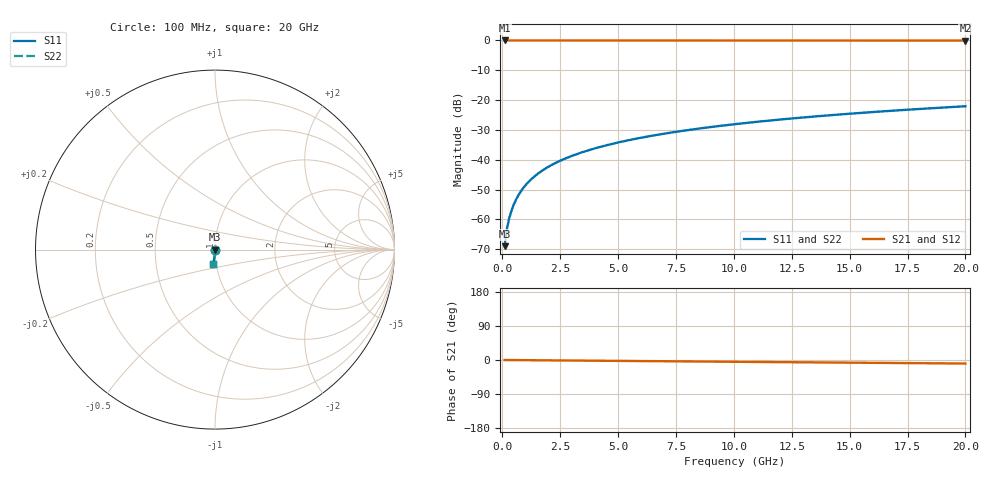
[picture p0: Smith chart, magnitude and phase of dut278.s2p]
! Touchstone file exported from HFSS 2026.1.0
!  File:  C:/ffzhzh/LocalFiles/Ansys_Project_Files/temp_train_TSV_278_1782993504_41620.aedt
!  Generated:  07:59:56 PM Jul  2, 2026
!  Design:  TSV
!  Project:  temp_train_TSV_278_1782993504_41620
! Variables:
!  h_bsmrdl = 2um
!  h_ox = 20um
!  h_rdl = 5um
!  h_sub = 86.93um
!  h_tmrdl = 5um
!  h_tsv = 86.93um
!  h_via = 3um
!  l_bsmrdl = 300um
!  l_sub = 425.7um
!  l_tmrdl = 200um
!  m_sub = 200um
!  pitch = 34.15um
!  r_tsv = 12.85um
!  s_tmrdl = 10um
!  w_bsmrdl = 18um
!  w_sub = 500um
!  w_tmrdl = 12um
!  x_tsv_center1 = 206um
!  x_tsv_center2 = 524um
!  x_tsv_center3 = 736um
!  x_tsv_center4 = 1054um
!  x_tsv_center5 = 1266um
!  x_tsv_center6 = 1584um
# GHz S MA R 50.000000
! Terminal data exported
! Port[1] = TSV1_1_T1
! Port[2] = TSV1_1_T2
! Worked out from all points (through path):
!   200 points, 100 MHz to 20 GHz, reference 50 ohm
!   highest |S21| = 0.00 dB at 100 MHz (marker M1); lowest = 0.0 dB at 20 GHz (marker M2)
!   group delay of S21, straight-line fit = 1.29 ps
!   lowest |S11| = -68.9 dB at 100 MHz (marker M3), VSWR 1.00, Z = 50 - j0.0341 ohm
!   |S11| at or under -10 dB: start of sweep to end of sweep
!   |S22| runs from -68.9 to -22.1 dB; largest |S21 - S12| = 2.5e-15
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0.1  0.000357 -73.0  0.9999 -0.0  0.9999 -0.0  0.000357 -73.0
! Gamma 0 0 0 0
! Port Impedance 50 0 50 0
0.2  0.000699 -79.9  0.9999 -0.1  0.9999 -0.1  0.000699 -79.9
0.3  0.001054 -81.9  0.9998 -0.1  0.9998 -0.1  0.001054 -81.9
0.4  0.00142 -82.8  0.9998 -0.2  0.9998 -0.2  0.00142 -82.8
0.5  0.001795 -83.4  0.9998 -0.2  0.9998 -0.2  0.001795 -83.4
0.7  0.002563 -84.3  0.9997 -0.3  0.9997 -0.3  0.002563 -84.3
0.8  0.002953 -84.7  0.9997 -0.4  0.9997 -0.4  0.002953 -84.7
1  0.003737 -85.4  0.9997 -0.5  0.9997 -0.5  0.003737 -85.4
1.2  0.004524 -85.9  0.9996 -0.6  0.9996 -0.6  0.004524 -85.9
1.4  0.005312 -86.5  0.9996 -0.7  0.9996 -0.7  0.005312 -86.5
1.7  0.006493 -87.1  0.9996 -0.8  0.9996 -0.8  0.006493 -87.1
2  0.007673 -87.6  0.9995 -0.9  0.9995 -0.9  0.007673 -87.6
2.7  0.01043 -88.5  0.9994 -1.3  0.9994 -1.3  0.01043 -88.5
3.5  0.01358 -89.2  0.9993 -1.7  0.9993 -1.7  0.01358 -89.2
4.2  0.01634 -89.8  0.9992 -2.0  0.9992 -2.0  0.01634 -89.8
5  0.01951 -90.3  0.9991 -2.4  0.9991 -2.4  0.01951 -90.3
6.8  0.02665 -91.4  0.9988 -3.2  0.9988 -3.2  0.02665 -91.4
8.3  0.03261 -92.3  0.9986 -3.9  0.9986 -3.9  0.03261 -92.3
10.1  0.03976 -93.3  0.9982 -4.7  0.9982 -4.7  0.03976 -93.3
13.4  0.05286 -95.0  0.9975 -6.3  0.9975 -6.3  0.05286 -95.0
16.7  0.06592 -96.7  0.9965 -7.8  0.9965 -7.8  0.06592 -96.7
20  0.07893 -98.3  0.9955 -9.3  0.9955 -9.3  0.07893 -98.3
